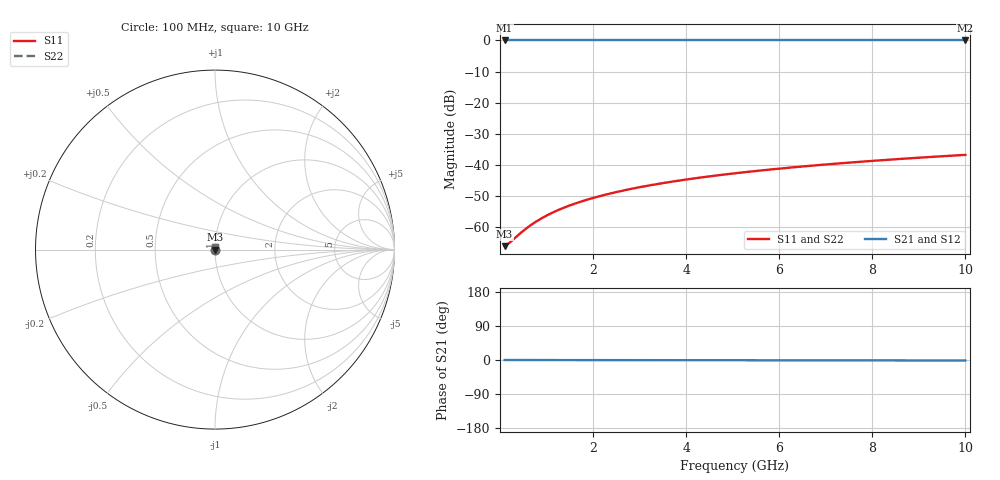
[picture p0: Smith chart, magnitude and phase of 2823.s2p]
# Hz S RI R 50.00
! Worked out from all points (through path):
!   100 points, 100 MHz to 10 GHz, reference 50 ohm
!   highest |S21| = 0.00 dB at 100 MHz (marker M1); lowest = 0.0 dB at 10 GHz (marker M2)
!   lowest |S11| = -66.2 dB at 100 MHz (marker M3), VSWR 1.00, Z = 50 + j0.0144 ohm
!   |S11| at or under -10 dB: start of sweep to end of sweep
!   |S22| runs from -66.2 to -36.8 dB; largest |S21 - S12| = 0
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1e8  0.000467 0.000144  0.9995 -0.000227  0.9995 -0.000227  0.000467 0.000144
2e8  0.00047 0.000287  0.9995 -0.000455  0.9995 -0.000455  0.00047 0.000287
5e8  0.000477 0.000718  0.9995 -0.00114  0.9995 -0.00114  0.000477 0.000718
6e8  0.000479 0.000862  0.9995 -0.00136  0.9995 -0.00136  0.000479 0.000862
7e8  0.00048 0.00101  0.9995 -0.00159  0.9995 -0.00159  0.00048 0.00101
9e8  0.000483 0.00129  0.9995 -0.00205  0.9995 -0.00205  0.000483 0.00129
1.1e9  0.000487 0.00158  0.9995 -0.0025  0.9995 -0.0025  0.000487 0.00158
1.3e9  0.00049 0.00187  0.9995 -0.00296  0.9995 -0.00296  0.00049 0.00187
1.5e9  0.000493 0.00215  0.9995 -0.00341  0.9995 -0.00341  0.000493 0.00215
1.8e9  0.000498 0.00259  0.9995 -0.00409  0.9995 -0.00409  0.000498 0.00259
2.1e9  0.000504 0.00302  0.9995 -0.00478  0.9995 -0.00478  0.000504 0.00302
2.5e9  0.000512 0.00359  0.9995 -0.00569  0.9995 -0.00569  0.000512 0.00359
2.9e9  0.000522 0.00417  0.9995 -0.0066  0.9995 -0.0066  0.000522 0.00417
3.4e9  0.000534 0.00488  0.9995 -0.00773  0.9995 -0.00773  0.000534 0.00488
3.8e9  0.000546 0.00546  0.9994 -0.00864  0.9994 -0.00864  0.000546 0.00546
4.2e9  0.000558 0.00603  0.9994 -0.00955  0.9994 -0.00955  0.000558 0.00603
5.1e9  0.000589 0.00733  0.9994 -0.0116  0.9994 -0.0116  0.000589 0.00733
5.9e9  0.000621 0.00848  0.9994 -0.0134  0.9994 -0.0134  0.000621 0.00848
6.7e9  0.000657 0.00963  0.9993 -0.0152  0.9993 -0.0152  0.000657 0.00963
7.5e9  0.000698 0.0108  0.9993 -0.0171  0.9993 -0.0171  0.000698 0.0108
8.4e9  0.000748 0.0121  0.9992 -0.0191  0.9992 -0.0191  0.000748 0.0121
1e10  0.000851 0.0144  0.9991 -0.0228  0.9991 -0.0228  0.000851 0.0144
